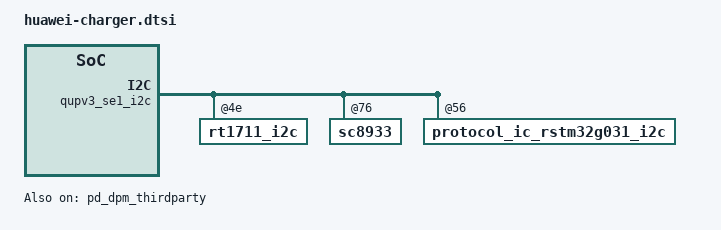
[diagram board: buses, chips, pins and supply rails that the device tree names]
&qupv3_se1_i2c {
	status = "ok";
	rt1711_i2c@4e {
		vbus_only_ignore = <1>;
		rt-tcpc,role_def = <3>; /* 0: SNK Only, 1: SRC Only, 2: DRP, 3: Try.SRC, 4: Try.SNK */
		status = "ok";
	};

        sc8933@76{
                status = "ok";
        };

        protocol_ic_rstm32g031_i2c@56 {
                status = "ok";
        };
};

&pd_dpm_thirdparty {
	vbus_only_ignore = <1>;
	status = "ok";
};

&reverse_charge {
	rchg_use_boost = <1>; /*1: use boost; 0: use buck charger */
};

&usb_short_circuit_protect {
        status = "disabled";
};

